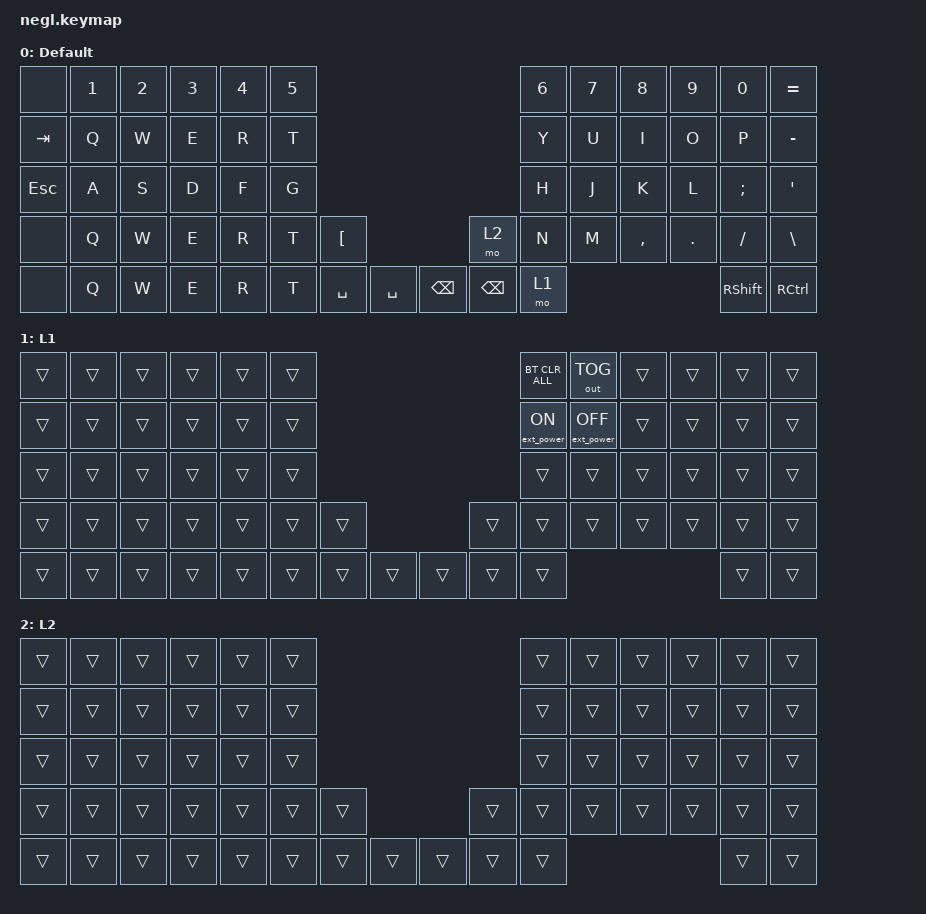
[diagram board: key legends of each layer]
#include <behaviors.dtsi>
#include <dt-bindings/zmk/keys.h>
#include <dt-bindings/zmk/bt.h>
#include <dt-bindings/zmk/outputs.h>
#include <dt-bindings/zmk/ext_power.h>

#define DEF 0
#define LWR 1
#define RSE 2
#define ADJ 3

/ {
        keymap {
                compatible = "zmk,keymap";

                default_layer {
                        display-name = "Default";
                        bindings = <
   &none   &kp N1 &kp N2 &kp N3 &kp N4 &kp N5                                           &kp N6 &kp N7 &kp N8    &kp N9  &kp N0     &kp EQUAL
   &kp TAB &kp Q  &kp W  &kp E  &kp R  &kp T                                            &kp Y  &kp U  &kp I     &kp O   &kp P      &kp MINUS
   &kp ESC &kp A  &kp S  &kp D  &kp F  &kp G                                            &kp H  &kp J  &kp K     &kp L   &kp SEMI   &kp SQT
   &none   &kp Q  &kp W  &kp E  &kp R  &kp T  &kp LBKT                         &mo 2    &kp N  &kp M  &kp COMMA &kp DOT &kp FSLH   &kp BSLH
   &none   &kp Q  &kp W  &kp E  &kp R  &kp T  &kp SPACE &kp SPACE     &kp BSPC &kp BSPC &mo 1                           &kp RSHIFT &kp RCTRL
                        >;
                };

                l1 {
                        display-name = "L1";
                        bindings = <
   &trans  &trans  &trans  &trans  &trans  &trans                                     &bt BT_CLR_ALL   &out OUT_TOG      &trans  &trans  &trans  &trans
   &trans  &trans  &trans  &trans  &trans  &trans                                     &ext_power EP_ON &ext_power EP_OFF &trans  &trans  &trans  &trans
   &trans  &trans  &trans  &trans  &trans  &trans                                     &trans           &trans            &trans  &trans  &trans  &trans
   &trans  &trans  &trans  &trans  &trans  &trans  &trans                     &trans  &trans           &trans            &trans  &trans  &trans  &trans
   &trans  &trans  &trans  &trans  &trans  &trans  &trans  &trans     &trans  &trans  &trans                                         &trans  &trans
                        >;
                };

                l2 {
                        display-name = "L2";
                        bindings = <
   &trans  &trans  &trans  &trans  &trans  &trans                                     &trans  &trans  &trans  &trans  &trans  &trans
   &trans  &trans  &trans  &trans  &trans  &trans                                     &trans  &trans  &trans  &trans  &trans  &trans
   &trans  &trans  &trans  &trans  &trans  &trans                                     &trans  &trans  &trans  &trans  &trans  &trans
   &trans  &trans  &trans  &trans  &trans  &trans  &trans                     &trans  &trans  &trans  &trans  &trans  &trans  &trans
   &trans  &trans  &trans  &trans  &trans  &trans  &trans  &trans     &trans  &trans  &trans                           &trans  &trans
                        >;
                };
        };
};
